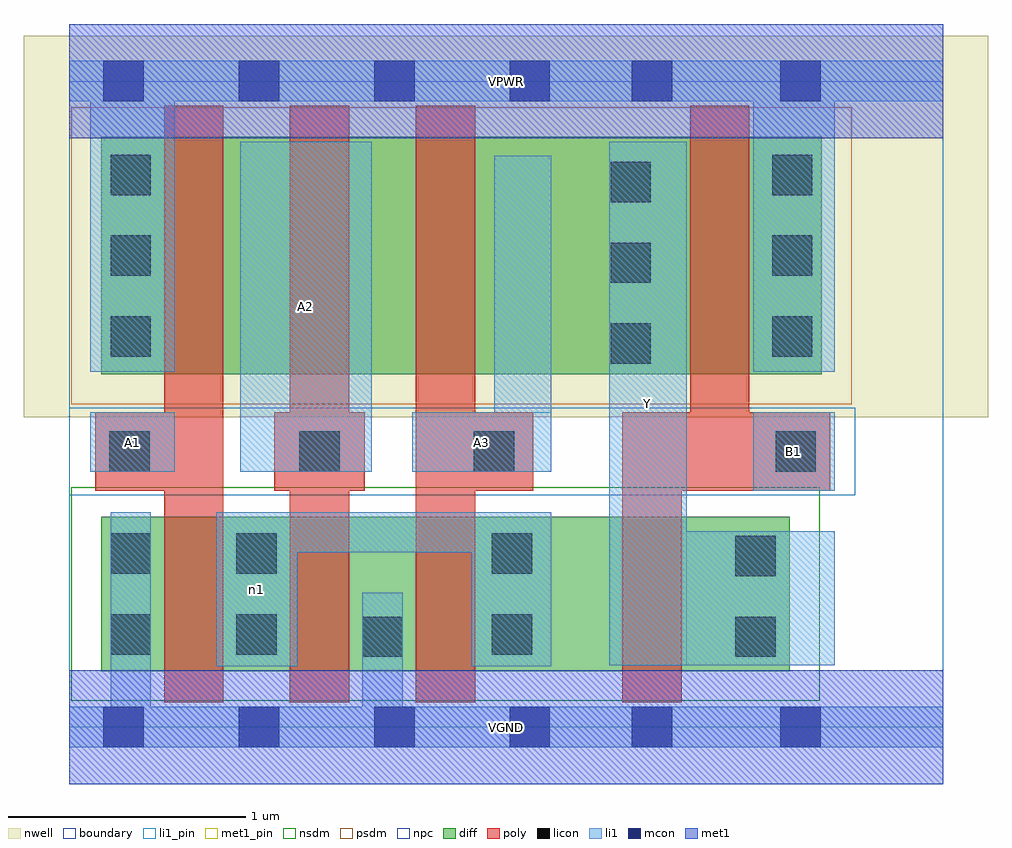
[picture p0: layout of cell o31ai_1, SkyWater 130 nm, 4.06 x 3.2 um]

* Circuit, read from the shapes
.subckt o31ai_1 A1 A2 A3 B1 VGND VPWR Y n1
XM1 n1 A1 VGND VSUBS sky130_fd_pr__nfet_01v8 w=0.65 l=0.25
XM2 VGND A2 n1 VSUBS sky130_fd_pr__nfet_01v8 w=0.65 l=0.25
XM3 n1 A3 VGND VSUBS sky130_fd_pr__nfet_01v8 w=0.65 l=0.25
XM4 Y B1 n1 VSUBS sky130_fd_pr__nfet_01v8 w=0.65 l=0.25
XM5 n2 A1 VPWR n3 sky130_fd_pr__pfet_01v8 w=1 l=0.25
XM6 n4 A2 n2 n3 sky130_fd_pr__pfet_01v8 w=1 l=0.25
XM7 Y A3 n4 n3 sky130_fd_pr__pfet_01v8 w=1 l=0.25
XM8 VPWR B1 Y n3 sky130_fd_pr__pfet_01v8 w=1 l=0.25
.ends

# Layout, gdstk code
import gdstk
lib = gdstk.Library(unit=1e-6, precision=1e-09)
def R(c, l, rs):  # rectangles x0, y0, x1, y1
    for r in rs: c.add(gdstk.rectangle(r[:2], r[2:], *l))
def A(c, l, x, y, w, h, nx, ny, dx, dy):  # array of equal rectangles
    R(c, l, [(x+i*dx, y+j*dy, x+i*dx+w, y+j*dy+h) for i in range(nx) for j in range(ny)])
nwell = (64, 20)
diff = (65, 20)
poly = (66, 20)
licon = (66, 44)
li1_pin = (67, 16)
li1 = (67, 20)
mcon = (67, 44)
met1_pin = (68, 16)
met1 = (68, 20)
nsdm = (93, 44)
psdm = (94, 20)
npc = (95, 20)
boundary = (235, 4)

o31ai_1 = lib.new_cell('o31ai_1')
R(o31ai_1, nwell, [(-0.19,1.305,3.87,2.91), (0,1.305,3.68,2.91)])
R(o31ai_1, diff, [(0.135,0.235,3.035,0.885), (0.135,1.485,3.17,2.485)])
A(o31ai_1, poly, 0.4, 0.105, 0.25, 2.51, 3, 1, 0.53, 0)
R(o31ai_1, poly, [(2.33,0.105,2.58,1.325), (0.11,0.995,0.65,1.325), (0.865,0.995,1.245,1.325), (1.46,0.995,1.955,1.325), (2.33,0.995,3.205,1.325), (2.615,0.995,2.865,2.615)])
A(o31ai_1, licon, 2.28, 1.53, 0.17, 0.17, 1, 3, 0, 0.34)
A(o31ai_1, licon, 0.175, 1.56, 0.17, 0.17, 1, 3, 0, 0.34)
A(o31ai_1, licon, 2.96, 1.56, 0.17, 0.17, 1, 3, 0, 0.34)
R(o31ai_1, licon, [(1.235,0.295,1.405,0.465), (2.805,0.295,2.975,0.465), (0.175,0.305,0.345,0.475), (0.705,0.305,0.875,0.475), (1.78,0.305,1.95,0.475), (2.805,0.635,2.975,0.805), (0.175,0.645,0.345,0.815), (0.705,0.645,0.875,0.815), (1.78,0.645,1.95,0.815), (0.17,1.075,0.34,1.245), (0.97,1.075,1.14,1.245), (1.705,1.075,1.875,1.245), (2.975,1.075,3.145,1.245)])
R(o31ai_1, li1_pin, [(2.275,0.26,2.6,2.465), (2.88,0.995,3.225,1.325), (0.09,1.075,0.445,1.325), (0.72,1.075,1.275,2.465), (1.445,1.075,2.03,1.325)])
R(o31ai_1, li1, [(0,-0.085,3.68,0.085), (0.175,-0.085,0.345,0.905), (1.235,-0.085,1.405,0.565), (0.62,0.255,0.96,0.905), (1.695,0.255,2.03,0.905), (2.275,0.26,2.6,2.465), (2.275,0.26,3.225,0.825), (0.62,0.735,2.03,0.905), (2.88,0.995,3.225,1.325), (0.09,1.075,0.445,1.325), (0.72,1.075,1.275,2.465), (1.445,1.075,2.03,1.325), (1.79,1.075,2.03,2.405), (0.09,1.495,0.445,2.805), (2.88,1.495,3.225,2.805), (0,2.635,3.68,2.805)])
A(o31ai_1, mcon, 0.145, -0.085, 0.17, 0.17, 4, 2, 0.57, 2.72)
R(o31ai_1, mcon, [(2.37,-0.085,2.54,0.085), (2.995,-0.085,3.165,0.085), (2.37,2.635,2.54,2.805), (2.995,2.635,3.165,2.805)])
R(o31ai_1, met1_pin, [(0,-0.24,3.68,0.24), (0,2.48,3.68,2.96)])
R(o31ai_1, met1, [(0,-0.24,3.68,0.24), (0,2.48,3.68,2.96)])
R(o31ai_1, nsdm, [(0.01,0.11,3.16,1.01)])
R(o31ai_1, psdm, [(0.01,1.36,3.295,2.61)])
R(o31ai_1, npc, [(0,0.975,3.31,1.345)])
R(o31ai_1, boundary, [(0,0,3.68,2.72)])
o31ai_1.add(gdstk.Label('A1', (0.267,1.2), layer=67, texttype=5))
o31ai_1.add(gdstk.Label('A2', (0.997,1.77), layer=67, texttype=5))
o31ai_1.add(gdstk.Label('A3', (1.737,1.2), layer=67, texttype=5))
o31ai_1.add(gdstk.Label('B1', (3.052,1.16), layer=67, texttype=5))
o31ai_1.add(gdstk.Label('Y', (2.437,1.362), layer=67, texttype=5))
o31ai_1.add(gdstk.Label('n1', (0.79,0.58), layer=67, texttype=5))
o31ai_1.add(gdstk.Label('VPWR', (1.84,2.72), layer=68, texttype=5))
o31ai_1.add(gdstk.Label('VGND', (1.84,0), layer=68, texttype=5))
o31ai_1.add(gdstk.Label('A1', (0.267,1.2), layer=67, texttype=16))
o31ai_1.add(gdstk.Label('A2', (0.997,1.77), layer=67, texttype=16))
o31ai_1.add(gdstk.Label('A3', (1.737,1.2), layer=67, texttype=16))
o31ai_1.add(gdstk.Label('B1', (3.052,1.16), layer=67, texttype=16))
o31ai_1.add(gdstk.Label('Y', (2.437,1.362), layer=67, texttype=16))
o31ai_1.add(gdstk.Label('VPWR', (1.84,2.72), layer=68, texttype=16))
o31ai_1.add(gdstk.Label('VGND', (1.84,0), layer=68, texttype=16))

lib.write_gds('o31ai_1.gds')
